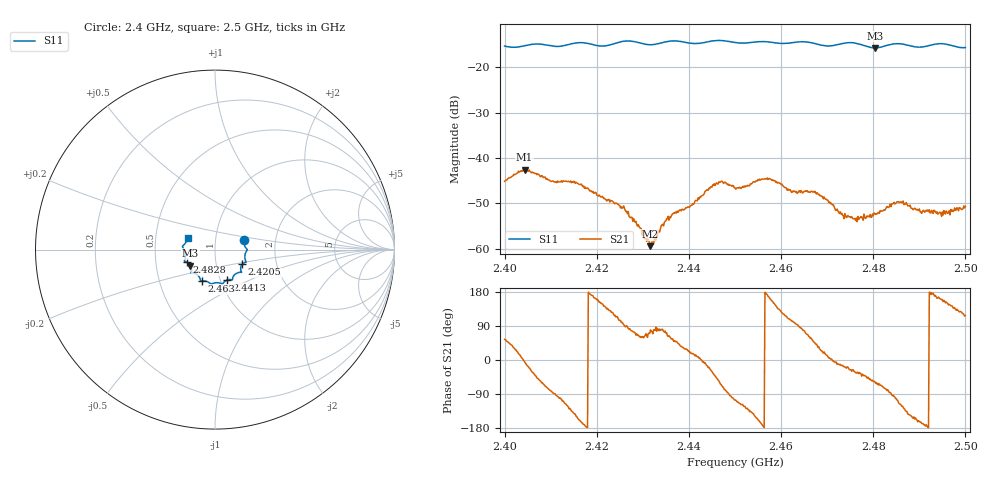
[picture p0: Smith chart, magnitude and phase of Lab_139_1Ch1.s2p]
# Hz S RI R 50
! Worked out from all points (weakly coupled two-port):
!   601 points, 2.4 GHz to 2.5 GHz, reference 50 ohm
!   highest |S21| = -42.59 dB at 2.4043 GHz (marker M1); lowest = -59.5 dB at 2.4315 GHz (marker M2)
!   lowest |S11| = -15.7 dB at 2.4803 GHz (marker M3), VSWR 1.39, Z = 37.4 - j6.83 ohm
!   |S11| at or under -10 dB: start of sweep to end of sweep
!   S12 and S22 are empty: the file has one direction only
!   S11 on the Smith chart (normalised r, x): 2.4 GHz: 1.38, +0.15; 2.4205 GHz: 1.34, -0.22; 2.4413 GHz: 1.08, -0.38; 2.463 GHz: 0.82, -0.29; 2.4828 GHz: 0.72, -0.10; 2.5 GHz: 0.73, +0.10
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2.4e9  0.1628 0.0522  0.00322 0.00449  0 0  0 0
2.404333e9  0.1727 0.00791  0.0074 -0.000619  0 0  0 0
2.4105e9  0.1697 -0.0196  0.000352 -0.00557  0 0  0 0
2.416667e9  0.1734 -0.0698  -0.00494 -0.00138  0 0  0 0
2.4205e9  0.1519 -0.0809  -0.00347 0.00178  0 0  0 0
2.426333e9  0.1482 -0.1262  7.36e-05 0.00256  0 0  0 0
2.4315e9  0.1131 -0.1363  0.000365 0.000998  0 0  0 0
2.433333e9  0.1003 -0.1516  0.000286 0.00156  0 0  0 0
2.436667e9  0.0974 -0.1693  0.00159 0.00184  0 0  0 0
2.441333e9  0.0676 -0.1697  0.00329 0.000629  0 0  0 0
2.4465e9  0.0414 -0.193  0.00311 -0.00447  0 0  0 0
2.45e9  0.0247 -0.186  -0.00131 -0.00447  0 0  0 0
2.457333e9  -0.0268 -0.1881  -0.00577 0.00136  0 0  0 0
2.463e9  -0.072 -0.1738  -0.000578 0.00422  0 0  0 0
2.466667e9  -0.0817 -0.1673  0.00253 0.00347  0 0  0 0
2.473833e9  -0.1308 -0.1306  0.0023 -0.000775  0 0  0 0
2.480333e9  -0.1373 -0.0889  0.00134 -0.00203  0 0  0 0
2.482833e9  -0.1586 -0.0699  0.000623 -0.00276  0 0  0 0
2.483333e9  -0.1625 -0.0681  0.000356 -0.00282  0 0  0 0
2.486e9  -0.1703 -0.0617  -0.00155 -0.00289  0 0  0 0
2.494667e9  -0.181 0.0175  -0.0023 0.000783  0 0  0 0
2.5e9  -0.152 0.064  -0.00133 0.0026  0 0  0 0
